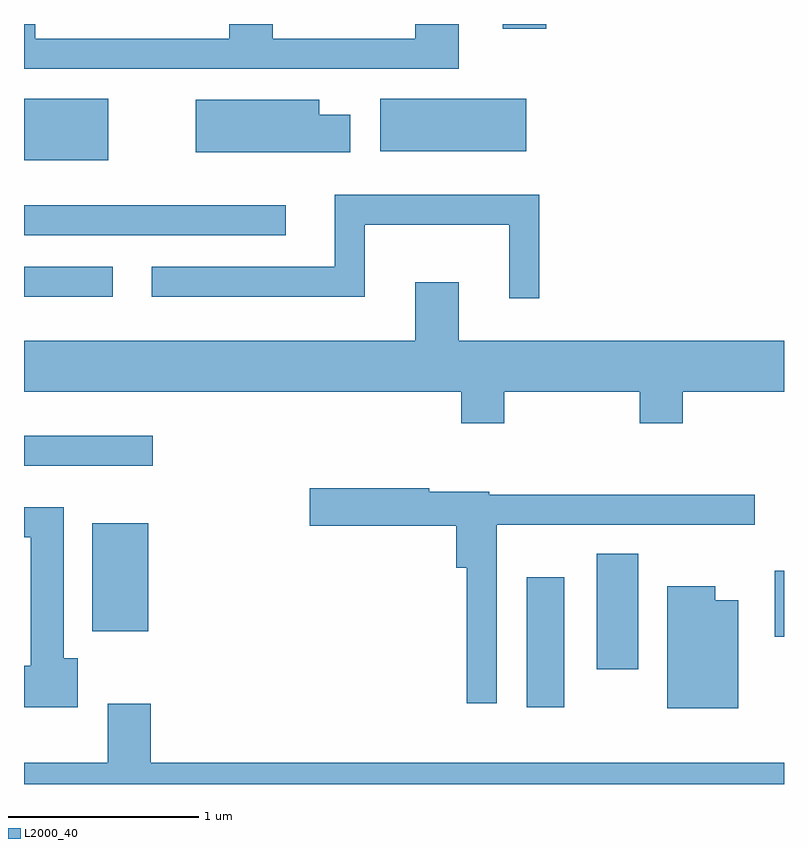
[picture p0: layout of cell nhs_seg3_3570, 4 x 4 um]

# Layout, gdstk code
import gdstk
lib = gdstk.Library(unit=1e-6, precision=1e-09)
def R(c, l, rs):  # rectangles x0, y0, x1, y1
    for r in rs: c.add(gdstk.rectangle(r[:2], r[2:], *l))
def P(c, l, *ps):  # polygons
    for p in ps: c.add(gdstk.Polygon(p, *l))
L2000_40 = (2000, 40)

nhs_seg3_3570 = lib.new_cell('nhs_seg3_3570')
R(nhs_seg3_3570, L2000_40, [(292.256,1184.296,292.454,1184.979), (292.626,1184.496,292.844,1185.104), (293.561,1184.666,293.611,1185.014), (289.971,1184.696,290.264,1185.264), (289.611,1185.566,290.288,1185.724), (289.611,1186.456,290.078,1186.614), (289.611,1186.781,290.988,1186.939), (289.611,1187.176,290.054,1187.499), (291.486,1187.221,292.254,1187.499), (292.131,1187.866,292.359,1187.892)])
P(nhs_seg3_3570, L2000_40, [(291.899,1187.892),(291.671,1187.892),(291.671,1187.814),(290.919,1187.814),(290.919,1187.892),(290.691,1187.892),(290.691,1187.814),(289.669,1187.814),(289.669,1187.892),(289.611,1187.892),(289.611,1187.656),(291.899,1187.656)],
  [(291.329,1187.414),(291.164,1187.414),(291.164,1187.494),(290.516,1187.494),(290.516,1187.216),(291.329,1187.216)],
  [(292.324,1186.994),(291.246,1186.994),(291.246,1186.614),(290.283,1186.614),(290.283,1186.456),(291.404,1186.456),(291.404,1186.836),(292.166,1186.836),(292.166,1186.448),(292.324,1186.448)],
  [(292.139,1185.956),(292.851,1185.956),(292.851,1185.791),(293.079,1185.791),(293.079,1185.956),(293.611,1185.956),(293.611,1186.224),(291.899,1186.224),(291.899,1186.534),(291.671,1186.534),(291.671,1186.224),(289.611,1186.224),(289.611,1185.956),(291.911,1185.956),(291.911,1185.791),(292.139,1185.791)],
  [(292.099,1185.256),(293.458,1185.256),(293.458,1185.414),(292.06,1185.414),(292.06,1185.429),(291.744,1185.429),(291.744,1185.449),(291.116,1185.449),(291.116,1185.251),(291.886,1185.251),(291.886,1185.031),(291.941,1185.031),(291.941,1184.318),(292.099,1184.318)],
  [(289.894,1184.554),(289.819,1184.554),(289.819,1185.349),(289.611,1185.349),(289.611,1185.191),(289.646,1185.191),(289.646,1184.514),(289.611,1184.514),(289.611,1184.296),(289.894,1184.296)],
  [(293.369,1184.859),(293.249,1184.859),(293.249,1184.934),(292.996,1184.934),(292.996,1184.291),(293.369,1184.291)],
  [(293.611,1184.004),(290.279,1184.004),(290.279,1184.314),(290.051,1184.314),(290.051,1184.004),(289.611,1184.004),(289.611,1183.892),(293.611,1183.892)])

lib.write_gds('nhs_seg3_3570.gds')
